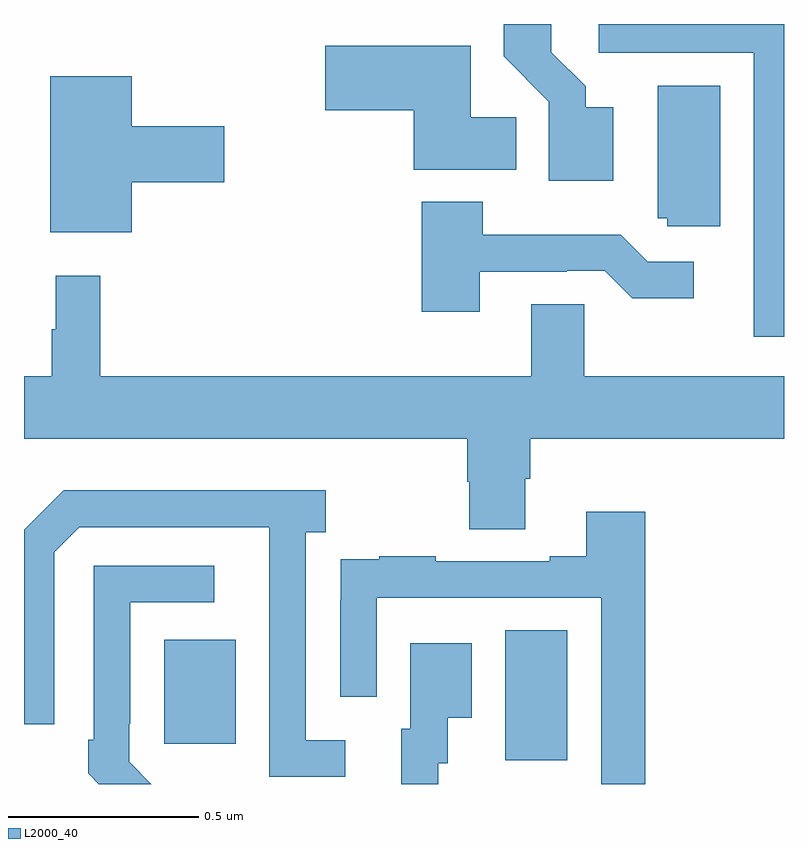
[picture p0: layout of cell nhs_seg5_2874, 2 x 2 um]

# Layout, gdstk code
import gdstk
lib = gdstk.Library(unit=1e-6, precision=1e-09)
def R(c, l, rs):  # rectangles x0, y0, x1, y1
    for r in rs: c.add(gdstk.rectangle(r[:2], r[2:], *l))
def P(c, l, *ps):  # polygons
    for p in ps: c.add(gdstk.Polygon(p, *l))
L2000_40 = (2000, 40)

nhs_seg5_2874 = lib.new_cell('nhs_seg5_2874')
R(nhs_seg5_2874, L2000_40, [(150.266,907.861,150.43,908.204), (149.369,907.905,149.557,908.179)])
P(nhs_seg5_2874, L2000_40, [(150.55,909.58),(150.478,909.58),(150.478,909.635),(150.388,909.725),(150.388,909.799),(150.262,909.799),(150.262,909.714),(150.381,909.595),(150.381,909.387),(150.55,909.387)],
  [(151,909.799),(150.513,909.799),(150.513,909.723),(150.921,909.723),(150.921,909.198),(150.92,909.198),(150.92,908.976),(151,908.976)],
  [(150.296,909.554),(150.175,909.554),(150.175,909.742),(149.793,909.742),(149.793,909.572),(150.026,909.572),(150.026,909.416),(150.296,909.416)],
  [(149.284,909.383),(149.527,909.383),(149.527,909.53),(149.284,909.53),(149.284,909.661),(149.069,909.661),(149.069,909.251),(149.284,909.251)],
  [(150.832,909.637),(150.668,909.637),(150.668,909.288),(150.693,909.288),(150.693,909.267),(150.832,909.267)],
  [(150.199,909.147),(150.428,909.147),(150.428,909.15),(150.528,909.15),(150.601,909.077),(150.763,909.077),(150.763,909.174),(150.642,909.174),(150.571,909.245),(150.207,909.245),(150.207,909.331),(150.047,909.331),(150.047,909.042),(150.199,909.042)],
  [(150.319,908.602),(150.332,908.602),(150.332,908.708),(151,908.708),(151,908.872),(150.474,908.872),(150.474,909.062),(150.335,909.062),(150.335,908.872),(149.201,908.872),(149.201,909.136),(149.084,909.136),(149.084,908.996),(149.073,908.996),(149.073,908.872),(149,908.872),(149,908.708),(150.167,908.708),(150.167,908.595),(150.172,908.595),(150.172,908.47),(150.319,908.47)],
  [(149.845,907.914),(149.742,907.914),(149.742,908.462),(149.794,908.462),(149.794,908.572),(149.104,908.572),(149,908.468),(149,907.956),(149.079,907.956),(149.079,908.409),(149.145,908.475),(149.645,908.475),(149.645,908.275),(149.646,908.275),(149.646,907.818),(149.845,907.818)],
  [(150.635,908.515),(150.479,908.515),(150.479,908.398),(150.383,908.398),(150.383,908.385),(150.083,908.385),(150.083,908.398),(149.935,908.398),(149.935,908.391),(149.833,908.391),(149.833,908.282),(149.832,908.282),(149.832,908.028),(149.928,908.028),(149.928,908.289),(150.519,908.289),(150.519,907.799),(150.635,907.799)],
  [(149.277,907.857),(149.277,907.957),(149.28,907.957),(149.28,908.277),(149.5,908.277),(149.5,908.373),(149.184,908.373),(149.184,907.915),(149.169,907.915),(149.169,907.827),(149.197,907.799),(149.335,907.799)],
  [(150.09,907.854),(150.115,907.854),(150.115,907.973),(150.178,907.973),(150.178,908.17),(150.017,908.17),(150.017,907.944),(149.993,907.944),(149.993,907.799),(150.09,907.799)])

lib.write_gds('nhs_seg5_2874.gds')
